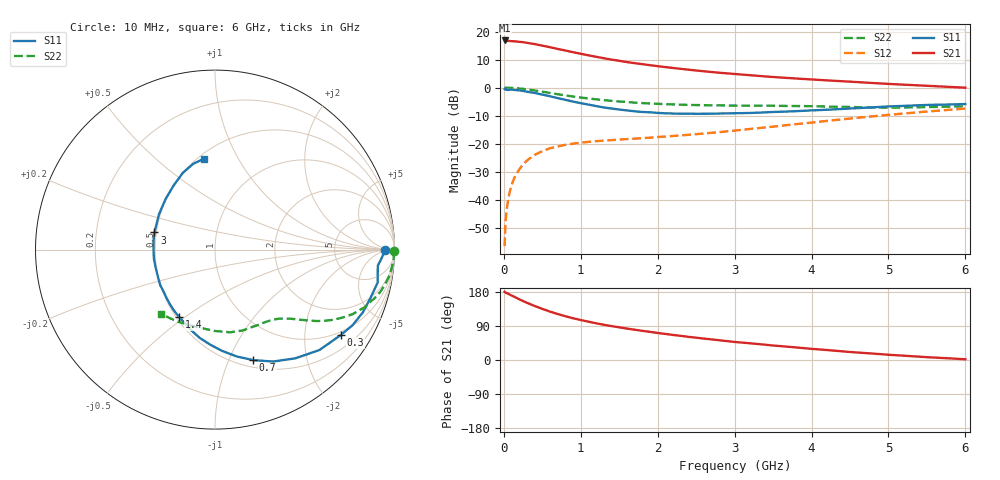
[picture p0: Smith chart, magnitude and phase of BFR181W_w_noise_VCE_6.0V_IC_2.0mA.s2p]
! (c) 2017  Infineon Technologies AG, Munich
! Infineon Technologies  Discrete & RF Semiconductors
! BFR181W
! VCE =  6.0 V,  IC =  2.0 mA
! Common Emitter S-Parameters:  Jan 2017
# GHz  S  MA  R  50
!  f  S11  S21  S12  S22
! GHz  MAG  ANG  MAG  ANG  MAG  ANG  MAG  ANG
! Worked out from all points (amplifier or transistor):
!   77 points, 10 MHz to 6 GHz, reference 50 ohm
!   highest |S21| = 16.8 dB at 10 MHz (marker M1)
!   |S21| within 3 dB of that: start of sweep to 696.5 MHz
!   unconditionally stable (mu >= 1): 1.886 GHz to 3.954 GHz
!   at 130 MHz: K = 0.09, MSG = 24.6 dB, |S12| = -32.6 dB
!   at 2.2 GHz: K = 1.07, MAG = 10.5 dB, |S12| = -17.2 dB
!   at 6 GHz: K = 0.84, MSG = 3.7 dB, |S12| = -7.4 dB
!   lowest NFmin = 0.84 dB at 450 MHz
!   S11 on the Smith chart (normalised r, x): 10 MHz: 37, -4; 300 MHz: 0.89, -3.02; 700 MHz: 0.58, -1.23; 1.4 GHz: 0.52, -0.47; 3 GHz: 0.49, +0.11; 6 GHz: 0.53, +0.73
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0.01  0.9478 -0.3  6.937 180.0  0.0015 82.9  1 -0.6
0.02  0.9258 -3.5  6.862 178.1  0.0037 91.3  0.9958 -0.9
0.03  0.9209 -4.2  6.846 177.2  0.0054 89.1  0.9961 -1.6
0.08  0.9183 -9.2  6.768 172.3  0.0145 85.0  0.9925 -4.7
0.15  0.9062 -17.7  6.679 165.5  0.027 78.7  0.9806 -8.8
0.25  0.8751 -28.7  6.466 155.6  0.0431 73.0  0.9518 -14.2
0.3  0.8477 -34.1  6.299 151.0  0.0502 70.0  0.9314 -16.7
0.4  0.8071 -43.9  5.992 142.5  0.0633 64.8  0.8914 -21.2
0.5  0.7528 -53.6  5.611 134.9  0.0739 59.9  0.8474 -25.1
0.6  0.7031 -62.5  5.259 127.7  0.0833 55.7  0.8048 -28.1
0.7  0.6516 -70.9  4.899 121.3  0.0895 53.0  0.7644 -30.8
0.9  0.5651 -86.1  4.284 110.1  0.1007 48.4  0.6957 -34.9
1.1  0.4994 -99.8  3.769 101.1  0.1083 45.9  0.6425 -37.8
1.4  0.4253 -118.2  3.166 89.5  0.1163 44.6  0.5821 -41.6
1.7  0.3796 -135.9  2.731 80.0  0.1233 44.8  0.5418 -45.1
2.1  0.3493 -157.2  2.327 68.8  0.1348 47.3  0.5088 -50.1
2.4  0.3441 -171.6  2.092 61.1  0.1446 49.4  0.4933 -54.5
3  0.3506 164.2  1.754 47.6  0.1717 53.3  0.4794 -63.2
3.1  0.3519 160.8  1.71 45.9  0.1777 53.8  0.4781 -64.7
4.1  0.3988 131.9  1.375 27.9  0.2472 55.1  0.4643 -81.7
5.1  0.4682 111.1  1.149 12.6  0.3369 50.1  0.4428 -106.1
6  0.5103 96.9  0.999 2.0  0.4245 42.2  0.4683 -129.8
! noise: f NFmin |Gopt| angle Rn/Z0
0.45  0.84  0.56  18  0.32
0.9  0.9  0.51  33  0.3
1.9  1.35  0.31  81  0.23
2.4  1.58  0.27  95  0.25
